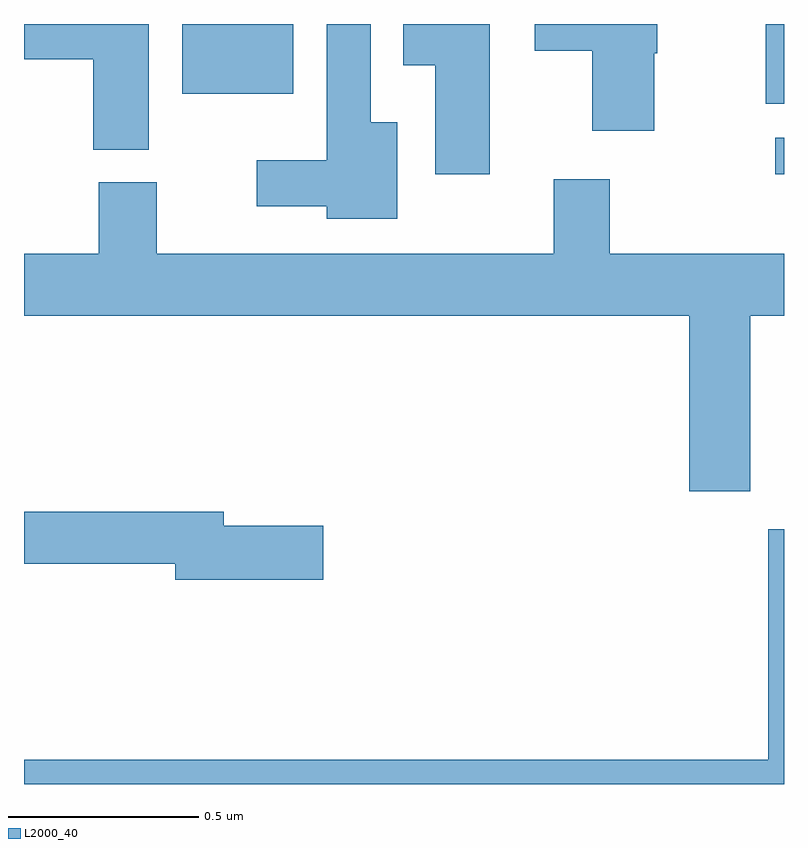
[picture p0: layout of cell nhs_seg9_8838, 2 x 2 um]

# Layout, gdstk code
import gdstk
lib = gdstk.Library(unit=1e-6, precision=1e-09)
def R(c, l, rs):  # rectangles x0, y0, x1, y1
    for r in rs: c.add(gdstk.rectangle(r[:2], r[2:], *l))
def P(c, l, *ps):  # polygons
    for p in ps: c.add(gdstk.Polygon(p, *l))
L2000_40 = (2000, 40)

nhs_seg9_8838 = lib.new_cell('nhs_seg9_8838')
R(nhs_seg9_8838, L2000_40, [(223.977,1218.105,224,1218.201), (223.952,1218.29,224,1218.5), (222.416,1218.317,222.709,1218.5)])
P(nhs_seg9_8838, L2000_40, [(223.225,1218.5),(222.998,1218.5),(222.998,1218.392),(223.082,1218.392),(223.082,1218.105),(223.225,1218.105)],
  [(222.982,1218.241),(222.913,1218.241),(222.913,1218.5),(222.797,1218.5),(222.797,1218.142),(222.612,1218.142),(222.612,1218.02),(222.797,1218.02),(222.797,1217.987),(222.982,1217.987)],
  [(223.659,1218.423),(223.666,1218.423),(223.666,1218.5),(223.344,1218.5),(223.344,1218.43),(223.496,1218.43),(223.496,1218.219),(223.659,1218.219)],
  [(222.328,1218.5),(222,1218.5),(222,1218.407),(222.182,1218.407),(222.182,1218.169),(222.328,1218.169)],
  [(223.911,1217.732),(224,1217.732),(224,1217.896),(223.542,1217.896),(223.542,1218.091),(223.394,1218.091),(223.394,1217.896),(222.349,1217.896),(222.349,1218.084),(222.197,1218.084),(222.197,1217.896),(222,1217.896),(222,1217.732),(223.751,1217.732),(223.751,1217.271),(223.911,1217.271)],
  [(222.787,1217.18),(222.526,1217.18),(222.526,1217.216),(222,1217.216),(222,1217.08),(222.398,1217.08),(222.398,1217.038),(222.787,1217.038)],
  [(224,1217.17),(223.958,1217.17),(223.958,1216.564),(222,1216.564),(222,1216.5),(224,1216.5)])

lib.write_gds('nhs_seg9_8838.gds')
